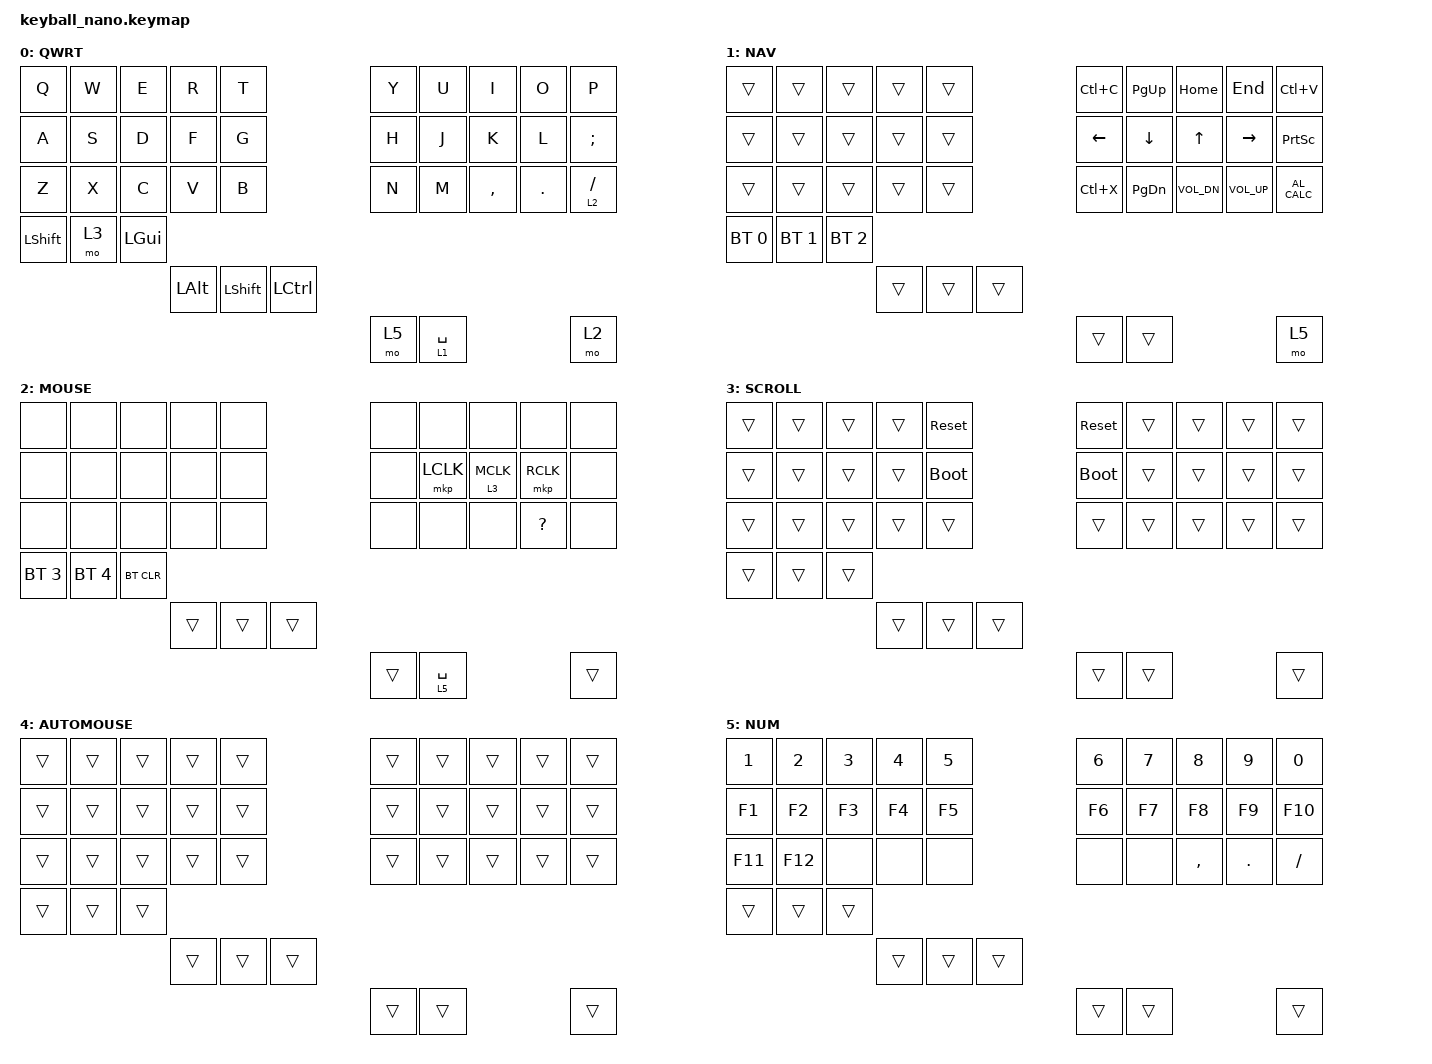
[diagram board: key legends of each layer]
#define DEF     0
#define NAV     1
#define MOUSE   2
#define SCROLL  3
#define AUTOMOUSE 4
#define NUM 5

#include <behaviors/mouse_keys.dtsi>
#include <behaviors.dtsi>
#include <dt-bindings/zmk/keys.h>
#include <dt-bindings/zmk/mouse.h>
#include <dt-bindings/zmk/bt.h>
#include <dt-bindings/zmk/outputs.h>

#include "zmk-helpers/helper.h"
#include "combos.dtsi"

&lt {
    tapping-term-ms = <200>;
    flavor = "balanced";
    quick-tap-ms = <150>;
};

/ {
    behaviors {
        lmc: layer_mouse_click {
            compatible = "zmk,behavior-hold-tap";
            #binding-cells = <2>;
            flavor = "tap-preferred";
            tapping-term-ms = <200>;
            bindings = <&mo>, <&mkp>;
            display-name = "Layer-Mouse-Click";
        };
    };
};

&mt {
    tapping-term-ms = <200>;
    flavor = "tap-preferred";
    quick-tap-ms = <150>;
};

&caps_word { continue-list = <UNDERSCORE MINUS>; };

/ {
    // custom shift using mod-morph

    behaviors {
        cmqus: comma_question {
            compatible = "zmk,behavior-mod-morph";
            label = "COMMA_QUESTION";
            #binding-cells = <0>;
            bindings = <&kp COMMA>, <&kp QUESTION>;

            mods = <(MOD_LSFT|MOD_RSFT)>;
        };

        dtsmi: dot_semi {
            compatible = "zmk,behavior-mod-morph";
            label = "DOT_SEMI";
            #binding-cells = <0>;
            bindings = <&kp DOT>, <&kp SEMI>;

            mods = <(MOD_LSFT|MOD_RSFT)>;
        };
    };

    keymap {
        compatible = "zmk,keymap";

        default_layer {
            label = "QWRT";
            bindings = <
&kp Q      &kp W     &kp E     &kp R    &kp T                              &kp Y            &kp U  &kp I      &kp O    &kp P
&kp A      &kp S     &kp D     &kp F    &kp G                              &kp H            &kp J  &kp K      &kp L    &kp SEMI
&kp Z      &kp X     &kp C     &kp V    &kp B                              &kp N            &kp M  &kp COMMA  &kp DOT  &lt 2 SLASH
&kp LSHFT  &mo 3     &kp LGUI
                               &kp LALT  &kp LSHFT  &kp LCTRL
                                                                           &mo 5        &lt 1 SPACE                &mo 2
            >;
        };

        navigation_layer {
            label = "NAV";
            bindings = <
&trans        &trans        &trans        &trans        &trans             &kp LC(C)     &kp PG_UP     &kp HOME      &kp END       &kp LC(V)
&trans        &trans        &trans        &trans        &trans             &kp LEFT      &kp DOWN      &kp UP        &kp RIGHT     &kp PSCRN
&trans        &trans        &trans        &trans        &trans             &kp LC(X)     &kp PG_DN     &kp C_VOL_DN  &kp C_VOL_UP  &kp C_AL_CALC
&bt BT_SEL 0  &bt BT_SEL 1  &bt BT_SEL 2
                            &trans        &trans        &trans
                                                                           &trans  &trans                                          &mo 5
            >;
        };

        mouse_layer {
            label = "MOUSE";
            bindings = <
&none           &none           &none         &none      &none                   &none          &none      &none       &none      &none
&none           &none           &none         &none      &none                   &none          &mkp LCLK  &lmc 3 MCLK &mkp RCLK  &none
&none           &none           &none         &none      &none                   &none          &none      &none       &kp QMARK  &none
&bt BT_SEL 3    &bt BT_SEL 4    &bt BT_CLR    &trans     &trans  &trans          &trans  &lt 5 SPACE                              &trans
            >;
        };

        scroll_layer {
            label = "SCROLL";
            bindings = <
&trans  &trans  &trans  &trans  &sys_reset              &sys_reset  &trans  &trans  &trans  &trans
&trans  &trans  &trans  &trans  &bootloader             &bootloader &trans  &trans  &trans  &trans
&trans  &trans  &trans  &trans  &trans                  &trans      &trans  &trans  &trans  &trans
&trans  &trans  &trans  &trans  &trans  &trans  &trans  &trans                              &trans
            >;
        };

        automouse_layer {
            label = "AUTOMOUSE";
            bindings = <
&trans  &trans  &trans  &trans  &trans                  &trans  &trans  &trans  &trans  &trans
&trans  &trans  &trans  &trans  &trans                  &trans  &trans  &trans  &trans  &trans
&trans  &trans  &trans  &trans  &trans                  &trans  &trans  &trans  &trans  &trans
&trans  &trans  &trans  &trans  &trans  &trans  &trans  &trans                          &trans
            >;
        };

        fn_layer {
            label = "NUM";
            bindings = <
&kp N1          &kp N2          &kp N3        &kp N4     &kp N5                  &kp N6         &kp N7     &kp N8      &kp N9     &kp N0
&kp F1          &kp F2          &kp F3        &kp F4     &kp F5                  &kp F6         &kp F7     &kp F8      &kp F9     &kp F10
&kp F11         &kp F12         &none         &none      &none                   &none          &none      &kp COMMA   &kp DOT    &kp SLASH
&trans          &trans          &trans        &trans     &trans  &trans          &trans  &trans                                   &trans
            >;
        };
    };
};
